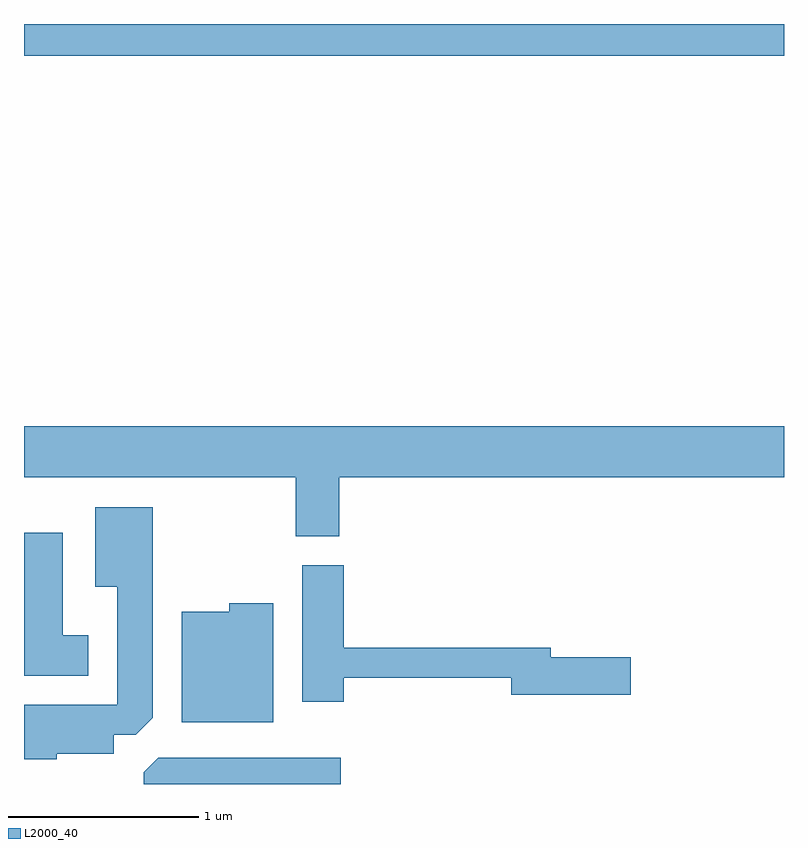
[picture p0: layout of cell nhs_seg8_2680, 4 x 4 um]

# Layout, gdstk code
import gdstk
lib = gdstk.Library(unit=1e-6, precision=1e-09)
def R(c, l, rs):  # rectangles x0, y0, x1, y1
    for r in rs: c.add(gdstk.rectangle(r[:2], r[2:], *l))
def P(c, l, *ps):  # polygons
    for p in ps: c.add(gdstk.Polygon(p, *l))
L2000_40 = (2000, 40)

nhs_seg8_2680 = lib.new_cell('nhs_seg8_2680')
R(nhs_seg8_2680, L2000_40, [(265.611,1854.176,269.611,1854.342)])
P(nhs_seg8_2680, L2000_40, [(267.269,1851.956),(269.611,1851.956),(269.611,1852.224),(265.611,1852.224),(265.611,1851.956),(267.041,1851.956),(267.041,1851.646),(267.269,1851.646)],
  [(265.784,1850.501),(266.084,1850.501),(266.084,1850.601),(266.199,1850.601),(266.289,1850.692),(266.289,1851.799),(265.986,1851.799),(265.986,1851.381),(266.101,1851.381),(266.101,1850.759),(265.611,1850.759),(265.611,1850.471),(265.784,1850.471)],
  [(265.949,1851.124),(265.814,1851.124),(265.814,1851.664),(265.611,1851.664),(265.611,1850.911),(265.949,1850.911)],
  [(267.294,1850.901),(268.176,1850.901),(268.176,1850.811),(268.804,1850.811),(268.804,1851.009),(268.384,1851.009),(268.384,1851.059),(267.294,1851.059),(267.294,1851.494),(267.076,1851.494),(267.076,1850.776),(267.294,1850.776)],
  [(266.924,1851.294),(266.691,1851.294),(266.691,1851.249),(266.441,1851.249),(266.441,1850.666),(266.924,1850.666)],
  [(267.278,1850.479),(266.317,1850.479),(266.241,1850.404),(266.241,1850.342),(267.278,1850.342)])

lib.write_gds('nhs_seg8_2680.gds')
